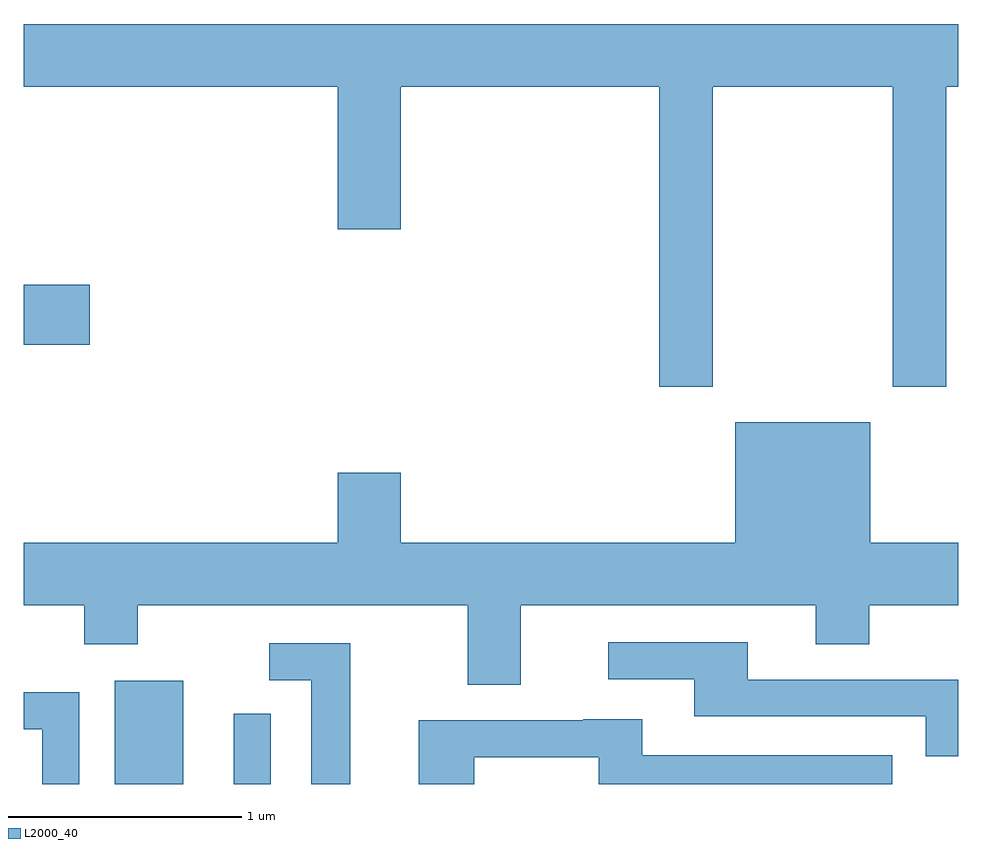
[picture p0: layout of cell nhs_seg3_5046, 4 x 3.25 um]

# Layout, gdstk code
import gdstk
lib = gdstk.Library(unit=1e-6, precision=1e-09)
def R(c, l, rs):  # rectangles x0, y0, x1, y1
    for r in rs: c.add(gdstk.rectangle(r[:2], r[2:], *l))
def P(c, l, *ps):  # polygons
    for p in ps: c.add(gdstk.Polygon(p, *l))
L2000_40 = (2000, 40)

nhs_seg3_5046 = lib.new_cell('nhs_seg3_5046')
R(nhs_seg3_5046, L2000_40, [(334.001,1151.892,334.294,1152.334), (334.511,1151.892,334.669,1152.193), (333.611,1153.771,333.894,1154.029)])
P(nhs_seg3_5046, L2000_40, [(336.559,1154.876),(337.331,1154.876),(337.331,1153.591),(337.559,1153.591),(337.559,1154.876),(337.611,1154.876),(337.611,1155.144),(333.611,1155.144),(333.611,1154.876),(334.956,1154.876),(334.956,1154.266),(335.224,1154.266),(335.224,1154.876),(336.331,1154.876),(336.331,1153.591),(336.559,1153.591)],
  [(335.739,1152.656),(337.001,1152.656),(337.001,1152.491),(337.229,1152.491),(337.229,1152.656),(337.611,1152.656),(337.611,1152.924),(337.234,1152.924),(337.234,1153.439),(336.656,1153.439),(336.656,1152.924),(335.224,1152.924),(335.224,1153.224),(334.956,1153.224),(334.956,1152.924),(333.611,1152.924),(333.611,1152.656),(333.871,1152.656),(333.871,1152.491),(334.099,1152.491),(334.099,1152.656),(335.511,1152.656),(335.511,1152.316),(335.739,1152.316)],
  [(337.611,1152.339),(336.709,1152.339),(336.709,1152.499),(336.113,1152.499),(336.113,1152.341),(336.481,1152.341),(336.481,1152.181),(337.471,1152.181),(337.471,1152.011),(337.611,1152.011)],
  [(335.009,1152.494),(334.663,1152.494),(334.663,1152.336),(334.841,1152.336),(334.841,1151.892),(335.009,1151.892)],
  [(333.849,1152.284),(333.611,1152.284),(333.611,1152.126),(333.691,1152.126),(333.691,1151.892),(333.849,1151.892)],
  [(335.539,1152.006),(336.071,1152.006),(336.071,1151.892),(337.328,1151.892),(337.328,1152.014),(336.259,1152.014),(336.259,1152.169),(336.005,1152.169),(336.005,1152.164),(335.301,1152.164),(335.301,1151.892),(335.539,1151.892)])

lib.write_gds('nhs_seg3_5046.gds')
